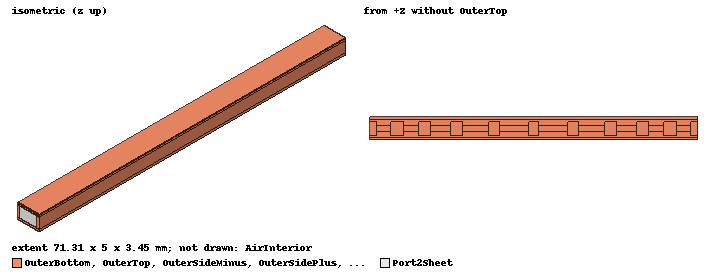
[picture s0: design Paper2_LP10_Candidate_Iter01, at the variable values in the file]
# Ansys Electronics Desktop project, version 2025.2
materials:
  vacuum: permittivity=1
  copper: permeability=0.999991 conductivity=58000000
  air: permittivity=1.0006 permeability=1.0000004
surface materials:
  Steel-oxidised-surface

design Paper2_LP10_Candidate_Iter01 (HFSS, HFSS Modal Network, model units mm)
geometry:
  OuterBottom [copper] = box(corner=(0mm, -2.5mm, -1.725mm), size=(71.307mm, 5mm, 0.5mm))
  OuterTop [copper] = box(corner=(0mm, -2.5mm, 1.225mm), size=(71.307mm, 5mm, 0.5mm))
  OuterSideMinus [copper] = box(corner=(0mm, -2.5mm, -1.225mm), size=(71.307mm, 0.5mm, 2.45mm))
  OuterSidePlus [copper] = box(corner=(0mm, 2mm, -1.225mm), size=(71.307mm, 0.5mm, 2.45mm))
  CenterSection_01 [copper] = box(corner=(0mm, -1.5mm, -0.15mm), size=(1.431mm, 3mm, 0.3mm))
  CenterSection_02 [copper] = box(corner=(1.431mm, -0.75mm, -0.4mm), size=(3.105mm, 1.5mm, 0.8mm))
  CenterSection_03 [copper] = box(corner=(4.536mm, -1.5mm, -0.15mm), size=(2.7675mm, 3mm, 0.3mm))
  CenterSection_04 [copper] = box(corner=(7.3035mm, -0.75mm, -0.4mm), size=(3.429mm, 1.5mm, 0.8mm))
  CenterSection_05 [copper] = box(corner=(10.7325mm, -1.5mm, -0.15mm), size=(2.5785mm, 3mm, 0.3mm))
  CenterSection_06 [copper] = box(corner=(13.311mm, -0.75mm, -0.4mm), size=(4.266mm, 1.5mm, 0.8mm))
  CenterSection_07 [copper] = box(corner=(17.577mm, -1.5mm, -0.15mm), size=(2.5785mm, 3mm, 0.3mm))
  CenterSection_08 [copper] = box(corner=(20.1555mm, -0.75mm, -0.4mm), size=(5.778mm, 1.5mm, 0.8mm))
  CenterSection_09 [copper] = box(corner=(25.9335mm, -1.5mm, -0.15mm), size=(2.3895mm, 3mm, 0.3mm))
  CenterSection_10 [copper] = box(corner=(28.323mm, -0.75mm, -0.4mm), size=(6.2505mm, 1.5mm, 0.8mm))
  CenterSection_11 [copper] = box(corner=(34.5735mm, -1.5mm, -0.15mm), size=(2.16mm, 3mm, 0.3mm))
  CenterSection_12 [copper] = box(corner=(36.7335mm, -0.75mm, -0.4mm), size=(6.2505mm, 1.5mm, 0.8mm))
  CenterSection_13 [copper] = box(corner=(42.984mm, -1.5mm, -0.15mm), size=(2.3895mm, 3mm, 0.3mm))
  CenterSection_14 [copper] = box(corner=(45.3735mm, -0.75mm, -0.4mm), size=(5.778mm, 1.5mm, 0.8mm))
  CenterSection_15 [copper] = box(corner=(51.1515mm, -1.5mm, -0.15mm), size=(2.5785mm, 3mm, 0.3mm))
  CenterSection_16 [copper] = box(corner=(53.73mm, -0.75mm, -0.4mm), size=(4.266mm, 1.5mm, 0.8mm))
  CenterSection_17 [copper] = box(corner=(57.996mm, -1.5mm, -0.15mm), size=(2.5785mm, 3mm, 0.3mm))
  CenterSection_18 [copper] = box(corner=(60.5745mm, -0.75mm, -0.4mm), size=(3.429mm, 1.5mm, 0.8mm))
  CenterSection_19 [copper] = box(corner=(64.0035mm, -1.5mm, -0.15mm), size=(2.7675mm, 3mm, 0.3mm))
  CenterSection_20 [copper] = box(corner=(66.771mm, -0.75mm, -0.4mm), size=(3.105mm, 1.5mm, 0.8mm))
  CenterSection_21 [copper] = box(corner=(69.876mm, -1.5mm, -0.15mm), size=(1.431mm, 3mm, 0.3mm))
  AirInterior [air] = box(corner=(0mm, -2mm, -1.225mm), size=(71.307mm, 4mm, 2.45mm))
  CenterSection_01_1 = CenterSection_01.copy()
  CenterSection_02_1 = CenterSection_02.copy()
  CenterSection_03_1 = CenterSection_03.copy()
  CenterSection_04_1 = CenterSection_04.copy()
  CenterSection_05_1 = CenterSection_05.copy()
  CenterSection_06_1 = CenterSection_06.copy()
  CenterSection_07_1 = CenterSection_07.copy()
  CenterSection_08_1 = CenterSection_08.copy()
  CenterSection_09_1 = CenterSection_09.copy()
  CenterSection_10_1 = CenterSection_10.copy()
  CenterSection_11_1 = CenterSection_11.copy()
  CenterSection_12_1 = CenterSection_12.copy()
  CenterSection_13_1 = CenterSection_13.copy()
  CenterSection_14_1 = CenterSection_14.copy()
  CenterSection_15_1 = CenterSection_15.copy()
  CenterSection_16_1 = CenterSection_16.copy()
  CenterSection_17_1 = CenterSection_17.copy()
  CenterSection_18_1 = CenterSection_18.copy()
  CenterSection_19_1 = CenterSection_19.copy()
  CenterSection_20_1 = CenterSection_20.copy()
  CenterSection_21_1 = CenterSection_21.copy()
  AirInterior.subtract(CenterSection_01_1, CenterSection_02_1, CenterSection_03_1, CenterSection_04_1, CenterSection_05_1, CenterSection_06_1, CenterSection_07_1, CenterSection_08_1, CenterSection_09_1, CenterSection_10_1, CenterSection_11_1, CenterSection_12_1, CenterSection_13_1, CenterSection_14_1, CenterSection_15_1, CenterSection_16_1, CenterSection_17_1, CenterSection_18_1, CenterSection_19_1, CenterSection_20_1, CenterSection_21_1)
  Port1Sheet = rectangle(corner=(0mm, -2mm, -1.225mm), y_size=4mm, z_size=2.45mm)
  Port2Sheet = rectangle(corner=(71.307mm, -2mm, -1.225mm), y_size=4mm, z_size=2.45mm)
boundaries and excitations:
  Port1: Wave Port Objects=Port1Sheet WavePortType=Modal NumModes=1 Modes{Mode1{CharImp=Zpi RenormImp=50ohm}}
  Port2: Wave Port Objects=Port2Sheet WavePortType=Modal NumModes=1 Modes{Mode1{CharImp=Zpi RenormImp=50ohm}}
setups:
  Setup1: HfssDriven Frequency=10GHz MaxDeltaS=0.02 MaximumPasses=15 MinimumPasses=3 MinimumConvergedPasses=2 PercentRefinement=30 BasisOrder=1 PortAccuracy=2 DrivenSolverType="Direct Solver"
    sweep Sweep1: 0.1GHz to 40GHz, 401 points; Type=Interpolating InterpTolerance=0.5 InterpMaxSolns=250 InterpUsePortImped=false PassivityErrorTolerance=0.0001
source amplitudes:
  Port1:1: 1W 0deg
  Port2:1: 0W 0deg
